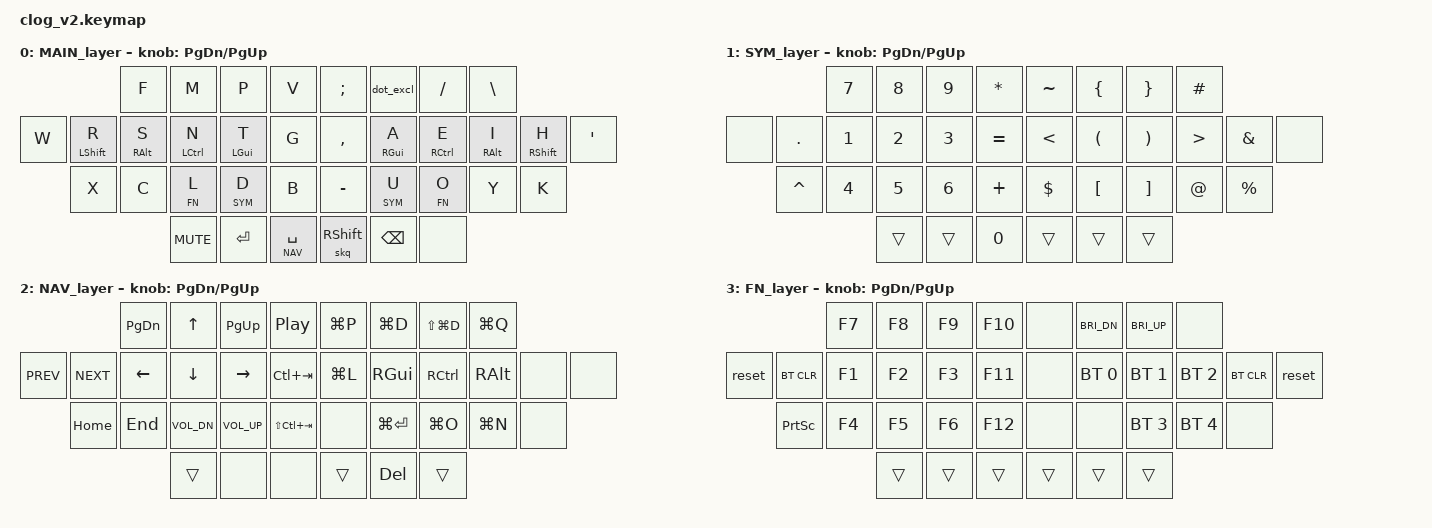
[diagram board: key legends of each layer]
#include <behaviors.dtsi>
#include <dt-bindings/zmk/keys.h>
#include <dt-bindings/zmk/bt.h>

#define MAIN 0
#define SYM 1
#define NAV 2
#define FN 3

&mt {
    flavor = "tap-preferred";
    tapping_term_ms = <250>;
};

/ {
    behaviors {
        dot_excl: dot_excl {
            compatible = "zmk,behavior-mod-morph";
            label = "DOT_EXCL";
            #binding-cells = <0>;
            bindings = <&kp DOT>, <&kp EXCL>;
            mods = <(MOD_LSFT|MOD_RSFT)>;
        };

        skq: sticky_key_quick_release {
            compatible = "zmk,behavior-sticky-key";
            label = "STICKY_KEY_QUICK_RELEASE";
            #binding-cells = <1>;
            bindings = <&kp>;
            release-after-ms = <1000>;
            quick-release;
        };
    };

    combos {
        compatible = "zmk,combos";

        combo_esc {
            timeout-ms = <30>;
            key-positions = <21 22>;
            bindings = <&kp ESC>;
            layers = <0>;
        };

        combo_tab {
            timeout-ms = <30>;
            key-positions = <22 23>;
            bindings = <&kp TAB>;
            layers = <0>;
        };

        combo_next_tab {
            timeout-ms = <30>;
            key-positions = <0 3>;
            bindings = <&kp LC(TAB)>;
            layers = <0>;
        };

        combo_prev_tab {
            timeout-ms = <30>;
            key-positions = <0 2>;
            bindings = <&kp LS(LC(TAB))>;
            layers = <0>;
        };

        combo_grave {
            timeout-ms = <30>;
            key-positions = <6 7>;
            bindings = <&kp GRAVE>;
            layers = <0>;
        };

        combo_q {
            timeout-ms = <30>;
            key-positions = <1 2>;
            bindings = <&kp Q>;
            layers = <0>;
        };

        combo_j {
            timeout-ms = <30>;
            key-positions = <1 3>;
            bindings = <&kp J>;
            layers = <0>;
        };

        combo_z {
            timeout-ms = <30>;
            key-positions = <0 1>;
            bindings = <&kp Z>;
            layers = <0>;
        };
    };

    keymap {
        compatible = "zmk,keymap";

        MAIN_layer {
            bindings = <
                              &kp F      &kp M       &kp P      &kp V            &kp SEMI   &dot_excl  &kp FSLH    &kp BSLH
            &kp W &mt LSHFT R &mt RALT S &mt LCTRL N &mt LGUI T &kp G            &kp COMMA  &mt RGUI A &mt RCTRL E &mt RALT I &mt RSHFT H &kp SQT
                  &kp X       &kp C      &lt FN L    &lt SYM D  &kp B            &kp MINUS  &lt SYM U  &lt FN O    &kp Y      &kp K
                                         &kp C_MUTE  &kp ENTER  &lt NAV SPC      &skq RSHFT &kp BSPC   &none
            >;

			sensor-bindings = <&inc_dec_kp PG_DN PG_UP>;
        };

        SYM_layer {
            bindings = <
                            &kp N7 &kp N8 &kp N9  &kp STAR       &kp TILDE &kp LBRC  &kp RBRC &kp HASH
            &none &kp DOT   &kp N1 &kp N2 &kp N3  &kp EQUAL      &kp LT    &kp LPAR  &kp RPAR &kp GT   &kp AMPS  &none
                  &kp CARET &kp N4 &kp N5 &kp N6  &kp PLUS       &kp DLLR  &kp LBKT  &kp RBKT &kp AT   &kp PRCNT
                                   &trans &trans  &kp N0         &trans    &trans    &trans
            >;

			sensor-bindings = <&inc_dec_kp PG_DN PG_UP>;
        };

        NAV_layer {
            bindings = <
                                  &kp PG_DN &kp UP       &kp PG_UP    &kp C_PP             &kp LG(P) &kp LG(D)     &kp LS(LG(D)) &kp LG(Q)
            &kp C_PREV &kp C_NEXT &kp LEFT  &kp DOWN     &kp RIGHT    &kp LC(TAB)          &kp LG(L) &kp RGUI      &kp RCTRL     &kp RALT  &none &none
                       &kp HOME   &kp END   &kp C_VOL_DN &kp C_VOL_UP &kp LS(LC(TAB))      &none     &kp LG(ENTER) &kp LG(O)     &kp LG(N) &none
                                            &trans       &none        &none                &trans    &kp DEL       &trans
            >;

			sensor-bindings = <&inc_dec_kp PG_DN PG_UP>;
        };

        FN_layer {
            bindings = <
                              &kp F7 &kp F8 &kp F9 &kp F10      &none  &kp C_BRI_DN &kp C_BRI_UP &none
            &reset &bt BT_CLR &kp F1 &kp F2 &kp F3 &kp F11      &none  &bt BT_SEL 0 &bt BT_SEL 1 &bt BT_SEL 2 &bt BT_CLR &reset
                   &kp PSCRN  &kp F4 &kp F5 &kp F6 &kp F12      &none  &none        &bt BT_SEL 3 &bt BT_SEL 4 &none
                                     &trans &trans &trans       &trans &trans       &trans
            >;

			sensor-bindings = <&inc_dec_kp PG_DN PG_UP>;
        };
    };
};
